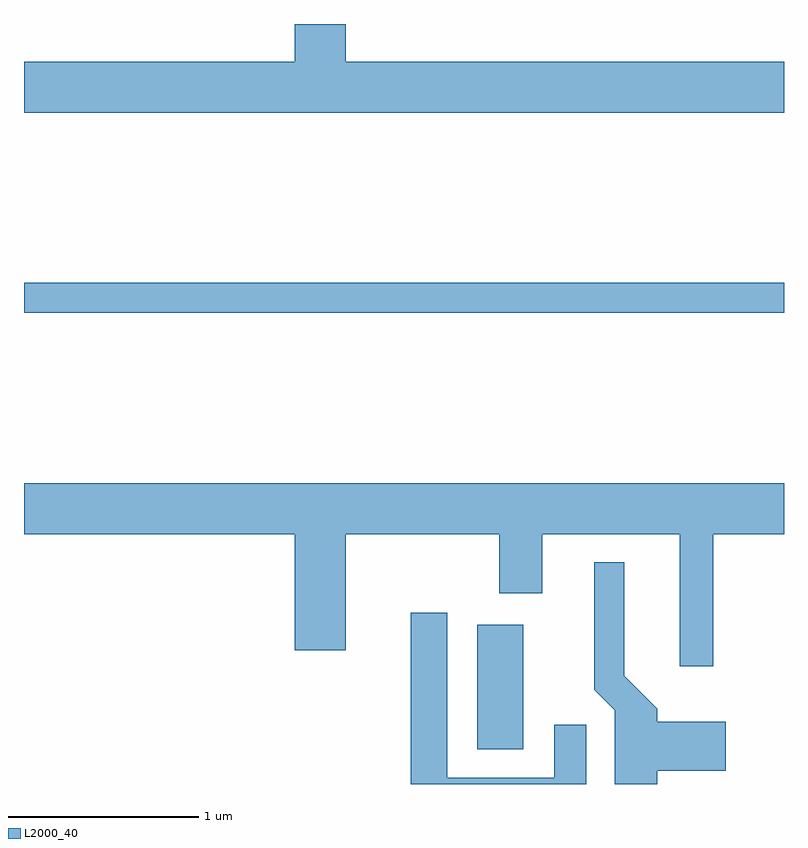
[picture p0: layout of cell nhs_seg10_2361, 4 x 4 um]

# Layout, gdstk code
import gdstk
lib = gdstk.Library(unit=1e-6, precision=1e-09)
def R(c, l, rs):  # rectangles x0, y0, x1, y1
    for r in rs: c.add(gdstk.rectangle(r[:2], r[2:], *l))
def P(c, l, *ps):  # polygons
    for p in ps: c.add(gdstk.Polygon(p, *l))
L2000_40 = (2000, 40)

nhs_seg10_2361 = lib.new_cell('nhs_seg10_2361')
R(nhs_seg10_2361, L2000_40, [(255.996,2192.706,256.239,2193.359), (253.611,2195.001,257.611,2195.159)])
P(nhs_seg10_2361, L2000_40, [(257.611,2196.324),(255.304,2196.324),(255.304,2196.522),(255.036,2196.522),(255.036,2196.324),(253.611,2196.324),(253.611,2196.056),(257.611,2196.056)],
  [(257.239,2193.836),(257.611,2193.836),(257.611,2194.104),(253.611,2194.104),(253.611,2193.836),(255.036,2193.836),(255.036,2193.226),(255.304,2193.226),(255.304,2193.836),(256.111,2193.836),(256.111,2193.526),(256.339,2193.526),(256.339,2193.836),(257.061,2193.836),(257.061,2193.141),(257.239,2193.141)],
  [(256.944,2192.591),(257.304,2192.591),(257.304,2192.849),(256.944,2192.849),(256.944,2192.917),(256.769,2193.092),(256.769,2193.688),(256.611,2193.688),(256.611,2193.019),(256.721,2192.909),(256.721,2192.522),(256.944,2192.522)],
  [(256.569,2192.833),(256.401,2192.833),(256.401,2192.554),(255.839,2192.554),(255.839,2193.424),(255.646,2193.424),(255.646,2192.522),(256.569,2192.522)])

lib.write_gds('nhs_seg10_2361.gds')
